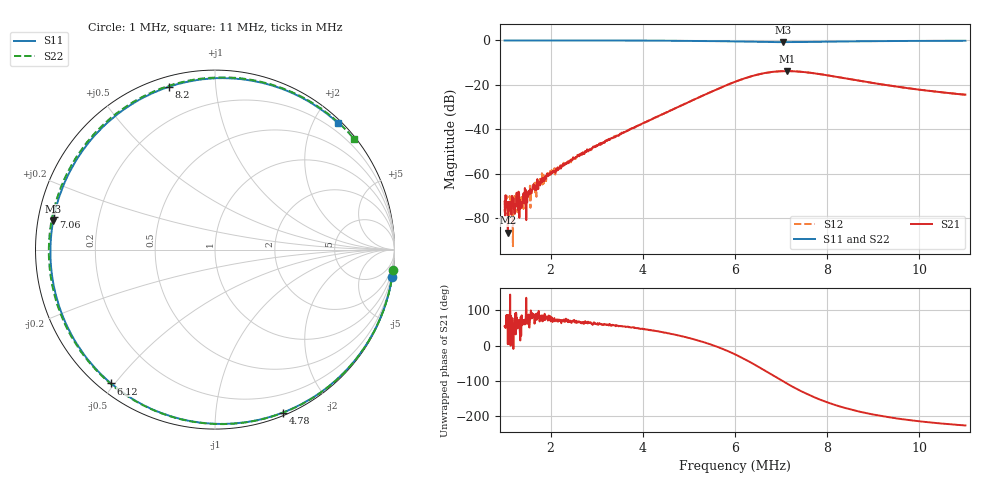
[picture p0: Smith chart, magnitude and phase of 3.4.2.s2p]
# MHz S DB R 50
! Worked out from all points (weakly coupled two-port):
!   1001 points, 1 MHz to 11 MHz, reference 50 ohm
!   highest |S21| = -13.78 dB at 7.13 MHz (marker M1); lowest = -86.5 dB at 1.07 MHz (marker M2)
!   lowest |S11| = -0.8 dB at 7.04 MHz (marker M3), VSWR 22.74, Z = 2.22 + j4.36 ohm
!   |S11| at or under -10 dB: nowhere
!   |S22| runs from -0.7 to 0.0 dB; largest |S21 - S12| = 0.0011
!   S11 on the Smith chart (normalised r, x): 1 MHz: 0, -13; 4.78 MHz: 0.03, -1.50; 6.12 MHz: 0.04, -0.49; 7.06 MHz: 0.04, +0.10; 8.2 MHz: 0.05, +0.75; 11 MHz: 0.06, +2.36
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1  -0.01 -8.9  -72.49 55.0  -75.80 104.7  -0.00 -6.7
1.07  -0.01 -9.5  -86.51 3.8  -75.02 83.4  -0.01 -7.1
1.19  -0.02 -10.6  -70.72 -9.8  -72.35 70.0  -0.01 -7.9
1.26  -0.02 -11.3  -68.50 73.1  -69.04 78.3  -0.01 -8.4
1.37  -0.02 -12.3  -75.17 85.5  -69.77 76.5  -0.01 -9.2
1.58  -0.02 -14.3  -68.48 82.1  -68.83 63.5  -0.01 -10.7
1.96  -0.02 -18.2  -60.11 85.2  -60.42 76.7  -0.01 -13.5
2.67  -0.02 -26.4  -50.70 66.0  -51.22 65.6  -0.01 -19.7
4.34  -0.10 -55.3  -34.00 40.1  -34.07 39.9  -0.05 -42.7
4.78  -0.14 -67.4  -29.80 28.4  -29.76 28.3  -0.08 -52.9
5.41  -0.26 -90.5  -23.78 5.6  -23.80 6.0  -0.17 -74.1
6  -0.45 -120.6  -18.60 -25.1  -18.61 -24.8  -0.34 -105.4
6.12  -0.50 -127.9  -17.68 -32.7  -17.69 -32.5  -0.39 -113.6
6.64  -0.70 -162.4  -14.68 -70.5  -14.69 -70.3  -0.61 -156.2
7.04  -0.76 170.0  -13.81 -101.5  -13.82 -101.3  -0.67 167.5
7.06  -0.76 168.6  -13.79 -103.1  -13.80 -102.8  -0.67 165.8
7.13  -0.76 164.0  -13.78 -108.3  -13.79 -108.0  -0.67 159.7
7.67  -0.66 131.2  -14.64 -143.9  -14.65 -143.7  -0.54 119.3
8.2  -0.52 105.9  -16.37 -169.9  -16.37 -169.6  -0.38 91.9
8.73  -0.39 87.1  -18.26 171.7  -18.26 171.9  -0.27 73.5
9.34  -0.28 71.3  -20.24 156.6  -20.25 156.9  -0.18 59.4
11  -0.15 45.8  -24.38 133.2  -24.41 133.4  -0.09 38.5
